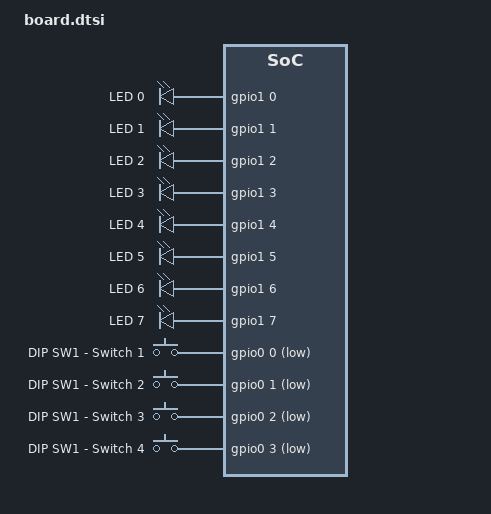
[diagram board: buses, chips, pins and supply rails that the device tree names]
/* SPDX-License-Identifier: Apache-2.0 */

/ {
	aliases {
		led0 = &led0;
		led1 = &led1;
		led2 = &led2;
		led3 = &led3;
		led4 = &led4;
		led5 = &led5;
		led6 = &led6;
		led7 = &led7;
		sw0 = &switch0;
		sw1 = &switch1;
		sw2 = &switch2;
		sw2 = &switch3;
	};

	leds {
		compatible = "gpio-leds";
		led0: led_0 {
			gpios = <&gpio1 0 0>;
			label = "LED 0";
		};
		led1: led_1 {
			gpios = <&gpio1 1 0>;
			label = "LED 1";
		};
		led2: led_2 {
			gpios = <&gpio1 2 0>;
			label = "LED 2";
		};
		led3: led_3 {
			gpios = <&gpio1 3 0>;
			label = "LED 3";
		};
		led4: led_4 {
			gpios = <&gpio1 4 0>;
			label = "LED 4";
		};
		led5: led_5 {
			gpios = <&gpio1 5 0>;
			label = "LED 5";
		};
		led6: led_6 {
			gpios = <&gpio1 6 0>;
			label = "LED 6";
		};
		led7: led_7 {
			gpios = <&gpio1 7 0>;
			label = "LED 7";
		};
	};

	buttons {
		compatible = "gpio-keys";
		switch0: switch_0 {
			/* gpio flags need validation */
			gpios = <&gpio0 0 GPIO_INT_ACTIVE_LOW>;
			label = "DIP SW1 - Switch 1";
		};
		switch1: switch_1 {
			/* gpio flags need validation */
			gpios = <&gpio0 1 GPIO_INT_ACTIVE_LOW>;
			label = "DIP SW1 - Switch 2";
		};
		switch2: switch_2 {
			/* gpio flags need validation */
			gpios = <&gpio0 2 GPIO_INT_ACTIVE_LOW>;
			label = "DIP SW1 - Switch 3";
		};
		switch3: switch_3 {
			/* gpio flags need validation */
			gpios = <&gpio0 3 GPIO_INT_ACTIVE_LOW>;
			label = "DIP SW1 - Switch 4";
		};
	};

};
